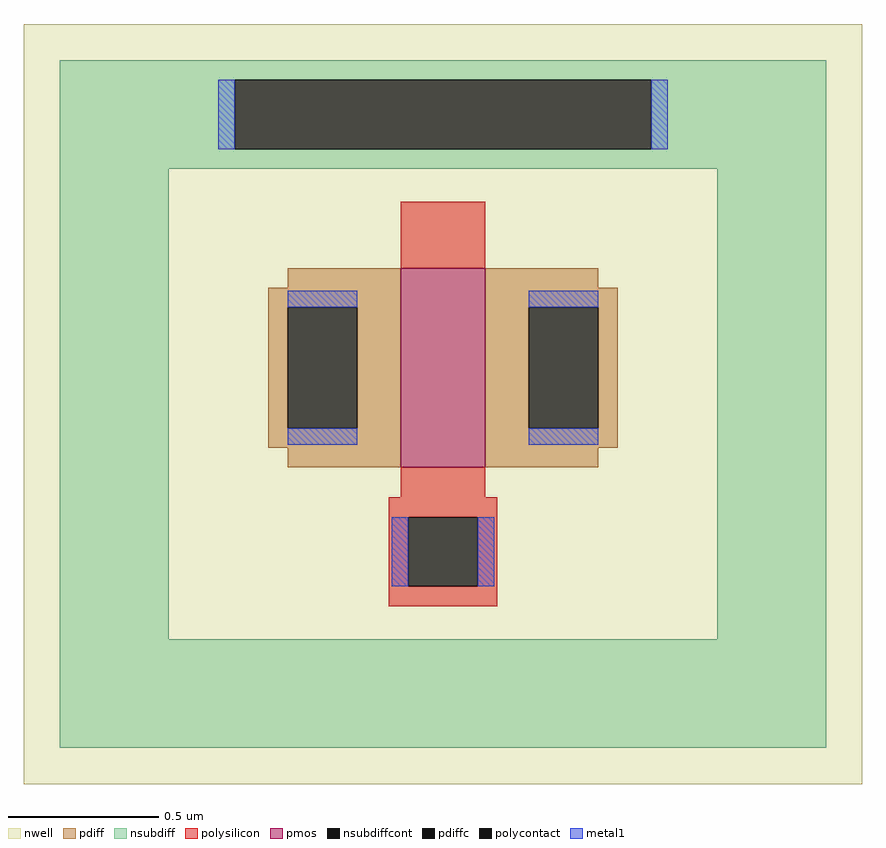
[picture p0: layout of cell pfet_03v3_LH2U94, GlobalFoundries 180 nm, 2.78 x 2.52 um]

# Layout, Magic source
magic
tech gf180mcuD
magscale 1 10
<< nwell >>
rect -278 -252 278 252
<< pmos >>
rect -28 -42 28 90
<< pdiff >>
rect -103 77 -28 90
rect -116 64 -28 77
rect -116 -16 -103 64
rect -57 -16 -28 64
rect -116 -29 -28 -16
rect -103 -42 -28 -29
rect 28 77 103 90
rect 28 64 116 77
rect 28 -16 57 64
rect 103 -16 116 64
rect 28 -29 116 -16
rect 28 -42 103 -29
<< pdiffc >>
rect -103 -16 -57 64
rect 57 -16 103 64
<< nsubdiff >>
rect -254 215 254 228
rect -254 169 -138 215
rect 138 169 254 215
rect -254 156 254 169
rect -254 -156 -182 156
rect 182 -156 254 156
rect -254 -228 254 -156
<< nsubdiffcont >>
rect -138 169 138 215
<< polysilicon >>
rect -28 90 28 134
rect -28 -62 28 -42
rect -36 -75 36 -62
rect -36 -121 -23 -75
rect 23 -121 36 -75
rect -36 -134 36 -121
<< polycontact >>
rect -23 -121 23 -75
<< metal1 >>
rect -149 169 -138 215
rect 138 169 149 215
rect -103 64 -57 75
rect -103 -27 -57 -16
rect 57 64 103 75
rect 57 -27 103 -16
rect -34 -121 -23 -75
rect 23 -121 34 -75
<< properties >>
string FIXED_BBOX -218 -192 218 192
string gencell pfet_03v3
string library gf180mcu
string parameters w 0.66 l 0.28 m 1 nf 1 diffcov 75 polycov 100 guard 1 glc 0 grc 0 gtc 1 gbc 0 tbcov 100 rlcov 100 topc 0 botc 1 poverlap 0 doverlap 1 lmin 0.28 wmin 0.22 class mosfet full_metal 0 compatible {pfet_03v3 pfet_06v0}
<< end >>
